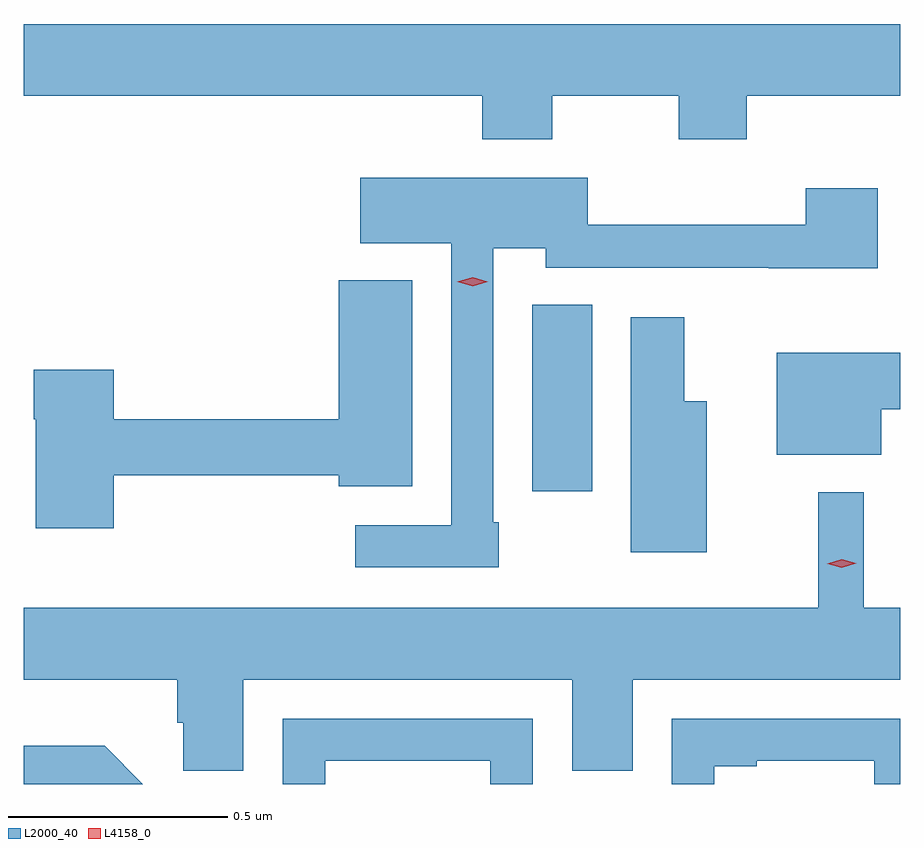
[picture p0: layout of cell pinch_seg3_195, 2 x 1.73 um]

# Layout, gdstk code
import gdstk
lib = gdstk.Library(unit=1e-6, precision=1e-09)
def R(c, l, rs):  # rectangles x0, y0, x1, y1
    for r in rs: c.add(gdstk.rectangle(r[:2], r[2:], *l))
def P(c, l, *ps):  # polygons
    for p in ps: c.add(gdstk.Polygon(p, *l))
L2000_40 = (2000, 40)
L4158_0 = (4158, 0)

pinch_seg3_195 = lib.new_cell('pinch_seg3_195')
R(pinch_seg3_195, L2000_40, [(979.211,730.65,979.348,731.075)])
P(pinch_seg3_195, L2000_40, [(979.257,731.552),(979.546,731.552),(979.546,731.453),(979.701,731.453),(979.701,731.552),(980.051,731.552),(980.051,731.716),(978.051,731.716),(978.051,731.552),(979.097,731.552),(979.097,731.453),(979.257,731.453)],
  [(979.135,730.579),(979.122,730.579),(979.122,731.204),(979.242,731.204),(979.242,731.16),(979.751,731.16),(979.751,731.159),(980,731.159),(980,731.341),(979.835,731.341),(979.835,731.258),(979.338,731.258),(979.338,731.365),(978.819,731.365),(978.819,731.216),(979.026,731.216),(979.026,730.572),(978.807,730.572),(978.807,730.476),(979.135,730.476)],
  [(978.257,730.686),(978.77,730.686),(978.77,730.661),(978.937,730.661),(978.937,731.131),(978.77,731.131),(978.77,730.814),(978.257,730.814),(978.257,730.927),(978.074,730.927),(978.074,730.814),(978.079,730.814),(978.079,730.566),(978.257,730.566)],
  [(979.609,730.855),(979.558,730.855),(979.558,731.047),(979.436,731.047),(979.436,730.511),(979.609,730.511)],
  [(980.008,730.837),(980.051,730.837),(980.051,730.966),(979.769,730.966),(979.769,730.733),(980.008,730.733)],
  [(978.051,730.22),(978.401,730.22),(978.401,730.122),(978.415,730.122),(978.415,730.012),(978.552,730.012),(978.552,730.22),(979.302,730.22),(979.302,730.012),(979.441,730.012),(979.441,730.22),(980.051,730.22),(980.051,730.384),(979.968,730.384),(979.968,730.648),(979.864,730.648),(979.864,730.384),(978.051,730.384)],
  [(979.627,730.023),(979.723,730.023),(979.723,730.035),(979.992,730.035),(979.992,729.982),(980.051,729.982),(980.051,730.131),(979.53,730.131),(979.53,729.982),(979.627,729.982)],
  [(978.739,730.035),(979.116,730.035),(979.116,729.982),(979.212,729.982),(979.212,730.131),(978.642,730.131),(978.642,729.982),(978.739,729.982)],
  [(978.236,730.069),(978.051,730.069),(978.051,729.982),(978.323,729.982)])
P(pinch_seg3_195, L4158_0, [(979.917,730.475),(979.884,730.485),(979.883,730.485),(979.884,730.485),(979.917,730.495),(979.95,730.486),(979.95,730.486),(979.95,730.486)],
  [(979.075,731.118),(979.04,731.128),(979.04,731.128),(979.04,731.128),(979.075,731.138),(979.11,731.128),(979.11,731.128),(979.11,731.128)])

lib.write_gds('pinch_seg3_195.gds')
